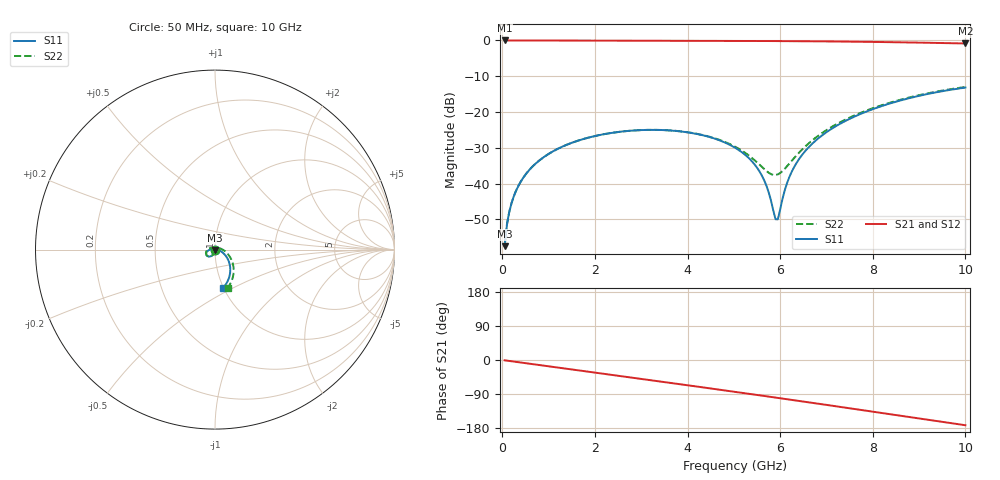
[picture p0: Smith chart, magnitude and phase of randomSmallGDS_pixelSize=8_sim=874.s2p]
! freq	dB(S11)	phase(S11)	dB(S12)	phase(S12)
!  dB(S21)	phase(S21)	dB(S22)	phase(S22)
!S-par simulation data
#  GHz  S  DB  R 50
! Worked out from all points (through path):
!   200 points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, 50 MHz to 10 GHz, reference 50 ohm
!   highest |S21| = 0.00 dB at 50 MHz (marker M1); lowest = -0.8 dB at 10 GHz (marker M2)
!   group delay of S21, straight-line fit = 47.8 ps
!   lowest |S11| = -57.5 dB at 50 MHz (marker M3), VSWR 1.00, Z = 50 - j0.133 ohm
!   |S11| at or under -10 dB: start of sweep to end of sweep
!   |S22| runs from -57.5 to -13.0 dB; largest |S21 - S12| = 0
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0.05  -57.52 -90.1  -0.00 -0.8  -0.00 -0.8  -57.51 -90.1
0.1  -51.50 -91.5  -0.00 -1.7  -0.00 -1.7  -51.48 -91.5
0.2  -45.47 -93.6  -0.00 -3.4  -0.00 -3.4  -45.46 -93.7
0.35  -40.61 -96.4  -0.00 -5.9  -0.00 -5.9  -40.60 -96.5
0.5  -37.53 -99.0  -0.01 -8.4  -0.01 -8.4  -37.52 -99.3
1  -31.73 -107.5  -0.02 -16.7  -0.02 -16.7  -31.73 -108.1
1.75  -27.56 -120.2  -0.04 -29.1  -0.04 -29.1  -27.56 -121.4
2.55  -25.52 -133.6  -0.06 -42.4  -0.06 -42.4  -25.52 -135.6
3.4  -25.03 -147.9  -0.08 -56.5  -0.08 -56.5  -25.02 -151.4
4.35  -26.57 -164.6  -0.10 -72.5  -0.10 -72.5  -26.51 -171.3
5.05  -30.18 -178.3  -0.13 -84.5  -0.13 -84.5  -29.86 168.2
5.55  -36.54 167.2  -0.15 -93.1  -0.15 -93.1  -34.68 138.0
5.75  -42.36 152.5  -0.16 -96.5  -0.16 -96.5  -36.97 112.0
5.9  -49.99 100.3  -0.17 -99.1  -0.17 -99.1  -37.63 84.0
5.95  -50.02 62.3  -0.17 -100.0  -0.17 -100.0  -37.45 74.1
6.1  -41.85 9.5  -0.18 -102.6  -0.18 -102.6  -35.88 48.1
6.25  -36.71 -2.6  -0.19 -105.2  -0.19 -105.2  -33.65 29.9
6.45  -32.41 -10.5  -0.21 -108.8  -0.21 -108.8  -30.81 14.3
6.7  -28.78 -17.2  -0.23 -113.2  -0.23 -113.2  -27.87 1.8
7.4  -22.57 -31.8  -0.31 -125.6  -0.31 -125.6  -22.18 -19.8
8.35  -17.70 -49.5  -0.47 -142.6  -0.47 -142.6  -17.48 -40.7
10  -13.18 -78.9  -0.84 -172.1  -0.84 -172.1  -13.00 -71.5
